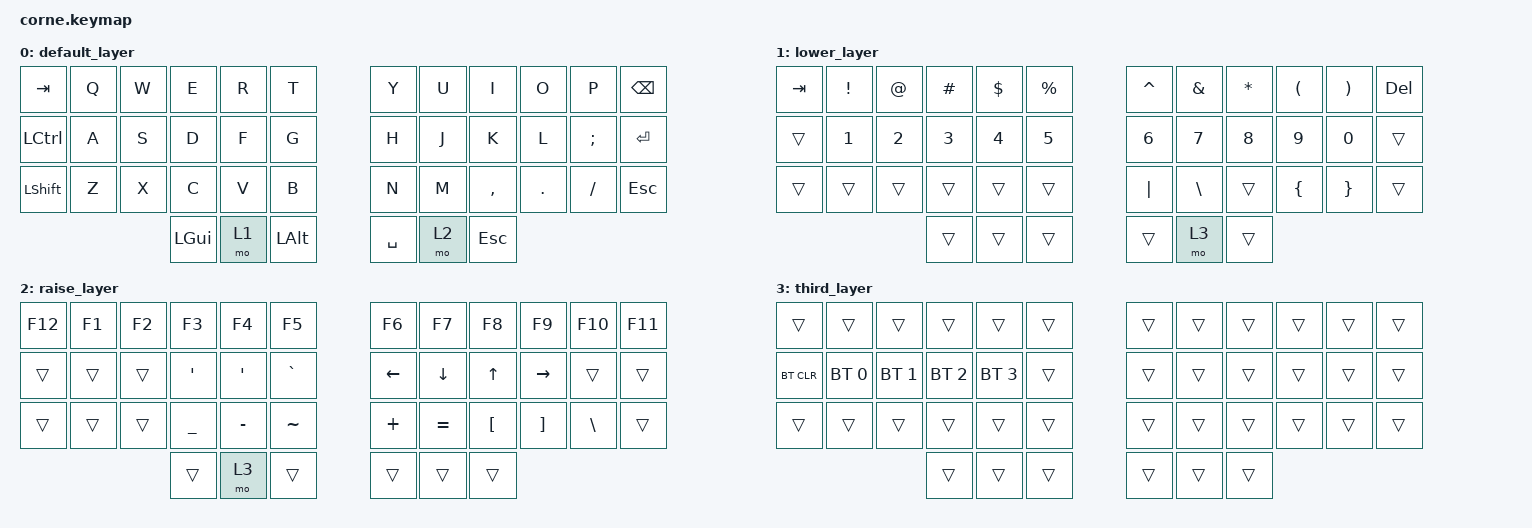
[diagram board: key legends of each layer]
/*
 * Copyright (c) 2020 The ZMK Contributors
 *
 * SPDX-License-Identifier: MIT
 */

#include <behaviors.dtsi>
#include <dt-bindings/zmk/keys.h>
#include <dt-bindings/zmk/bt.h>

/ {
        keymap {
                compatible = "zmk,keymap";

                default_layer {
// -----------------------------------------------------------------------------------------
// |  TAB |  Q  |  W  |  E  |  R  |  T  |   |  Y  |  U   |  I  |  O  |  P  | BKSP |
// | CTRL |  A  |  S  |  D  |  F  |  G  |   |  H  |  J   |  K  |  L  |  ;  | ENT  |
// | SHFT |  Z  |  X  |  C  |  V  |  B  |   |  N  |  M   |  ,  |  .  |  /  | ESC  |
//                    | GUI | LWR | ALT |   | SPC | RSE  | ESC |
                        bindings = <
   &kp TAB   &kp Q &kp W &kp E    &kp R &kp T      &kp Y     &kp U &kp I     &kp O   &kp P    &kp BSPC
   &kp LCTRL &kp A &kp S &kp D    &kp F &kp G      &kp H     &kp J &kp K     &kp L   &kp SEMI &kp RET
   &kp LSHFT &kp Z &kp X &kp C    &kp V &kp B      &kp N     &kp M &kp COMMA &kp DOT &kp FSLH &kp ESC
                         &kp LGUI &mo 1 &kp LALT   &kp SPACE &mo 2 &kp ESC
                        >;
                };
                lower_layer {
// -----------------------------------------------------------------------------------------
// |    |  !  |  @  |  #  |  $  |  %  |   |  ^  |  &  |  *  |  (  |  )  | DEL |
// |    |  1  |  2  |  3  |  4  |  5  |   |  6  |  7  |  8  |  9  |  0  |     |
// |    |     |     |     |     |     |   | "|" |  \  |     |  {  |  }  |     |
//                  |     |     |     |   |     | MO3 |     |
                        bindings = <
   &kp TAB &kp EXCL &kp AT &kp HASH &kp DLLR &kp PRCNT   &kp CARET &kp AMPS &kp ASTRK &kp LPAR &kp RPAR &kp DEL
   &trans  &kp N1   &kp N2 &kp N3   &kp N4   &kp N5      &kp N6    &kp N7   &kp N8    &kp N9   &kp N0   &trans
   &trans  &trans   &trans &trans   &trans   &trans      &kp PIPE  &kp BSLH &trans    &kp LBRC &kp RBRC &trans
                           &trans   &trans   &trans      &trans    &mo 3    &trans
                        >;
                };

                raise_layer {
// -----------------------------------------------------------------------------------------
// | F12 |  F1 |  F2 |  F3 |  F4 |  F5 |   |  F6 |  F7 |  F8 |  F9 | F10 | F11 |
// |     |     |     |  "  |  '  |  `  |   | LFT | DWN |  UP | RGT |     |     |
// |     |     |     |  _  |  -  |  ~  |   |  +  |  =  |  [  |  ]  |  \  |     |
//                   |     | MO3 |     |   |     |     |     |
                        bindings = <
   &kp F12 &kp F1 &kp F2 &kp F3    &kp F4    &kp F5       &kp F6    &kp F7    &kp F8    &kp F9    &kp F10  &kp F11
   &trans  &trans &trans &kp SQT   &kp SQT   &kp GRAVE    &kp LEFT  &kp DOWN  &kp UP    &kp RIGHT &trans   &trans
   &trans  &trans &trans &kp UNDER &kp MINUS &kp TILDE    &kp PLUS  &kp EQUAL &kp LBKT  &kp RBKT  &kp BSLH &trans
                         &trans    &mo 3     &trans       &trans    &trans    &trans
                        >;
                };

                third_layer {
// -----------------------------------------------------------------------------------------
// |        |     |     |     |     |     |   |     |     |     |     |     |     |
// | BT_CLR | BT1 | BT2 | BT3 | BT4 |     |   |     |     |     |     |     |     |
// |        |     |     |     |     |     |   |     |     |     |     |     |     |
//                      |     |     |     |   |     |     |     |
                        bindings = <
   &trans     &trans       &trans       &trans       &trans       &trans   &trans &trans &trans &trans &trans &trans
   &bt BT_CLR &bt BT_SEL 0 &bt BT_SEL 1 &bt BT_SEL 2 &bt BT_SEL 3 &trans   &trans &trans &trans &trans &trans &trans
   &trans     &trans       &trans       &trans       &trans       &trans   &trans &trans &trans &trans &trans &trans
                           &trans       &trans       &trans       &trans   &trans &trans
                        >;
                };
        };
};
